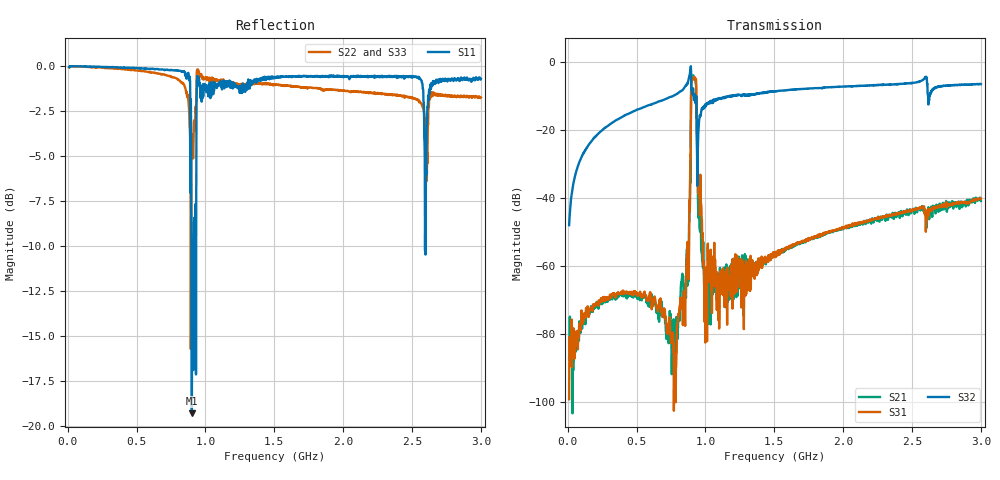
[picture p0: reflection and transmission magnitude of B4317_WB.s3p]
!EPCOS AG 16.05.2012 17:10:27
!Calibration: group1-4 06.03.2011
!NWA IDN: Rohde&Schwarz,ZVT8-4Port,1300000008100235,2.76
!NWA-Port 1: 78.0 ps , NWA-Port 2: 76.0 ps , NWA-Port 3: 76.0 ps ,
! port | pin | signal
!  1  |  1  |  IN
!  2  |  3  |  OUT
!  3  |  4  |  OUT
# Hz S RI R 50
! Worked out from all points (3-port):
!   1601 points, 10 MHz to 3 GHz, reference 50 ohm
!   strongest paths, dB at 10 MHz, 757.5 MHz, 1.505 GHz, 2.252 GHz, 3 GHz:
!     S32: -47.9, -10.1, -8.6, -6.8, -6.5
!     S31: -99.1, -81.5, -56.6, -45.5, -40.1
!     S21: -87.3, -86.0, -56.7, -45.4, -40.8
!   lowest |S11| = -19.3 dB at 901.4 MHz (marker M1), VSWR 1.24, Z = 58.4 - j8.26 ohm
!   |S11| at or under -10 dB: 898 MHz to 905 MHz (6.971 MHz wide, 0.773 % of centre); 905.7 MHz to 914.9 MHz (9.198 MHz wide, 1.01 % of centre); 919.7 MHz to 926.1 MHz (6.424 MHz wide, 0.696 % of centre) (the widest 3 of 6)
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1e7  0.9943 -0.0283  4.22e-05 4.89e-05  -5.9e-06 1.79e-05
     4.31e-05 -2.54e-06  0.9922 -0.0132  0.000114 0.00398
     8.89e-06 -6.7e-06  1.67e-05 0.00402  0.9923 -0.0135
1.875312e8  0.8977 -0.4345  7e-05 0.000235  8.7e-05 0.000235
            6.94e-05 0.000226  0.9818 -0.1584  0.0121 0.0743
            0.000101 0.000254  0.0121 0.0742  0.9827 -0.154
7.817938e8  -0.1489 -0.9624  -0.000116 -2.28e-06  -3.3e-05 3.03e-05
            -9.56e-05 -1.48e-05  0.7182 -0.5877  0.2126 0.2548
            -2.6e-05 3.36e-05  0.2128 0.2548  0.7238 -0.5797
8.658875e8  -0.5587 -0.7632  -0.0018 -0.000169  -0.000757 -0.00102
            -0.0018 -0.000163  0.5108 -0.6483  0.3975 0.2758
            -0.000767 -0.00103  0.3977 0.2756  0.5226 -0.6368
9.013938e8  0.0826 -0.0699  -0.2929 -0.5324  0.2625 0.5294
            -0.2933 -0.5319  0.5261 -0.23  0.3729 -0.1508
            0.2633 0.5292  0.3731 -0.1509  0.5613 -0.1991
9.2195e8  -0.2106 0.00613  0.5434 -0.2275  -0.5332 0.2514
          0.543 -0.2283  0.6066 -0.263  0.3175 -0.0982
          -0.5329 0.2524  0.3176 -0.0983  0.5819 -0.3006
9.574562e8  0.3113 -0.8434  -0.000778 0.00357  0.000319 -0.00959
            -0.000776 0.00355  0.7855 -0.5163  0.1137 0.1144
            0.000311 -0.00962  0.1136 0.1144  0.794 -0.4907
9.985688e8  0.0834 -0.8841  -0.000299 -3.57e-05  -8.3e-05 -4.07e-05
            -0.000308 -3.03e-05  0.7364 -0.5703  0.1596 0.1596
            -6.42e-05 -4.04e-05  0.1597 0.1594  0.748 -0.5538
1.505e9  -0.4423 -0.8212  -0.00147 -0.000123  -0.00147 -6.41e-05
         -0.00147 -0.000114  0.4668 -0.7551  0.3245 0.1776
         -0.00148 -5.71e-05  0.3245 0.177  0.4766 -0.7488
3e9  -0.8503 -0.3573  -0.0082 0.00394  -0.00905 0.00402
     -0.0082 0.00394  -0.028 -0.8171  0.4719 -0.0515
     -0.00903 0.00403  0.4716 -0.0517  -0.0604 -0.814
